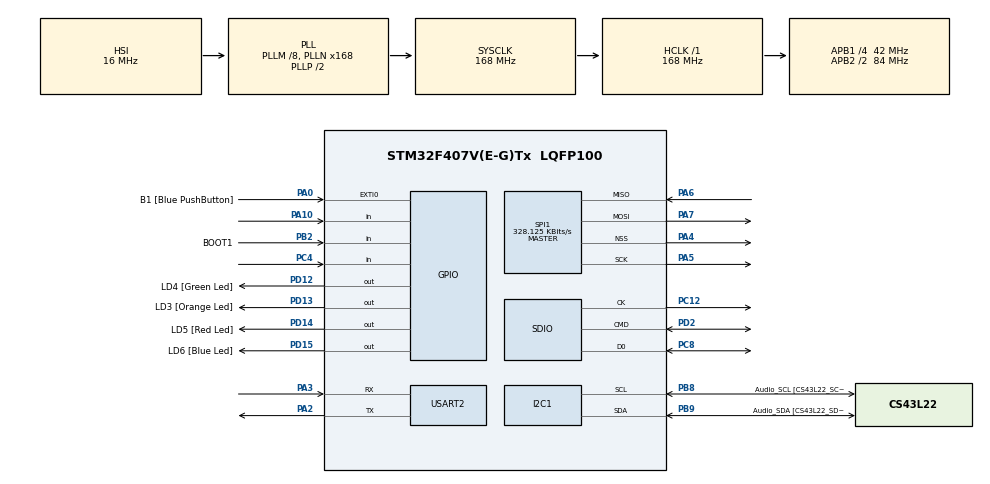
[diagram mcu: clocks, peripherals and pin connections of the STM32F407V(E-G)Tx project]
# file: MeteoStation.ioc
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Dma.Request0=SDIO_TX
Dma.Request1=SDIO_RX
Dma.SDIO_RX.1.Direction=DMA_PERIPH_TO_MEMORY
Dma.SDIO_RX.1.FIFOMode=DMA_FIFOMODE_ENABLE
Dma.SDIO_RX.1.FIFOThreshold=DMA_FIFO_THRESHOLD_FULL
Dma.SDIO_RX.1.Instance=DMA2_Stream6
Dma.SDIO_RX.1.MemBurst=DMA_MBURST_INC4
Dma.SDIO_RX.1.MemDataAlignment=DMA_MDATAALIGN_WORD
Dma.SDIO_RX.1.MemInc=DMA_MINC_ENABLE
Dma.SDIO_RX.1.Mode=DMA_PFCTRL
Dma.SDIO_RX.1.PeriphBurst=DMA_PBURST_INC4
Dma.SDIO_RX.1.PeriphDataAlignment=DMA_PDATAALIGN_WORD
Dma.SDIO_RX.1.PeriphInc=DMA_PINC_DISABLE
Dma.SDIO_RX.1.Priority=DMA_PRIORITY_LOW
Dma.SDIO_TX.0.Direction=DMA_MEMORY_TO_PERIPH
Dma.SDIO_TX.0.FIFOMode=DMA_FIFOMODE_ENABLE
Dma.SDIO_TX.0.FIFOThreshold=DMA_FIFO_THRESHOLD_FULL
Dma.SDIO_TX.0.Instance=DMA2_Stream3
Dma.SDIO_TX.0.MemBurst=DMA_MBURST_INC4
Dma.SDIO_TX.0.MemDataAlignment=DMA_MDATAALIGN_WORD
Dma.SDIO_TX.0.MemInc=DMA_MINC_ENABLE
Dma.SDIO_TX.0.Mode=DMA_PFCTRL
Dma.SDIO_TX.0.PeriphBurst=DMA_PBURST_INC4
Dma.SDIO_TX.0.PeriphDataAlignment=DMA_PDATAALIGN_WORD
Dma.SDIO_TX.0.PeriphInc=DMA_PINC_DISABLE
Dma.SDIO_TX.0.Priority=DMA_PRIORITY_LOW
FATFS.BSP.number=1
FATFS.USE_DMA_CODE_SD=1
FATFS._USE_CHMOD=1
FATFS._USE_EXPAND=1
FATFS._USE_FIND=1
FATFS._USE_FORWARD=1
FATFS._USE_LABEL=1
FATFS._USE_LFN=3
FATFS0.BSP.STBoard=false
FATFS0.BSP.api=Unknown
FATFS0.BSP.instance=PA10
FATFS0.BSP.ip=GPIO
FATFS0.BSP.mode=Input
FATFS0.BSP.name=Detect_SDIO
FATFS0.BSP.solution=PA10
Mcu.Family=STM32F4
Mcu.Name=STM32F407V(E-G)Tx
Mcu.Package=LQFP100
NVIC.DMA2_Stream3_IRQn=true\:7\:0\:true\:false\:true\:false\:true\:true
NVIC.DMA2_Stream6_IRQn=true\:7\:0\:true\:false\:true\:false\:true\:true
NVIC.PriorityGroup=NVIC_PRIORITYGROUP_4
NVIC.SDIO_IRQn=true\:6\:0\:true\:false\:true\:true\:true\:true
NVIC.TIM2_IRQn=true\:5\:0\:true\:false\:true\:true\:true\:true
NVIC.TIM6_DAC_IRQn=true\:6\:0\:true\:false\:true\:false\:true\:true
NVIC.TimeBase=TIM6_DAC_IRQn
NVIC.TimeBaseIP=TIM6
PA0-WKUP.GPIO_Label=B1 [Blue PushButton]
PA0-WKUP.GPIO_ModeDefaultEXTI=GPIO_MODE_EVT_RISING
PA0-WKUP.GPIO_PuPd=GPIO_NOPULL
PA0-WKUP.Signal=GPXTI0
PA10.GPIO_PuPd=GPIO_NOPULL
PA10.Signal=GPIO_Input
PA13.Mode=Serial_Wire
PA13.Signal=SYS_JTMS-SWDIO
PA14.Mode=Serial_Wire
PA14.Signal=SYS_JTCK-SWCLK
PA2.Mode=Asynchronous
PA2.Signal=USART2_TX
PA3.Mode=Asynchronous
PA3.Signal=USART2_RX
PA4.Mode=NSS_Signal_Hard_Output
PA4.Signal=SPI1_NSS
PA5.Mode=Full_Duplex_Master
PA5.Signal=SPI1_SCK
PA6.Mode=Full_Duplex_Master
PA6.Signal=SPI1_MISO
PA7.Mode=Full_Duplex_Master
PA7.Signal=SPI1_MOSI
PB2.GPIO_Label=BOOT1
PB2.GPIO_Mode=GPIO_MODE_INPUT
PB2.GPIO_PuPd=GPIO_NOPULL
PB2.Signal=GPIO_Input
PB8.GPIO_Label=Audio_SCL [CS43L22_SCL]
PB8.GPIO_Mode=GPIO_MODE_AF_OD
PB8.GPIO_Pu=GPIO_PULLUP
PB8.GPIO_Speed=GPIO_SPEED_FREQ_LOW
PB8.Mode=I2C
PB8.Signal=I2C1_SCL
PB9.GPIO_Label=Audio_SDA [CS43L22_SDA]
PB9.GPIO_Mode=GPIO_MODE_AF_OD
PB9.GPIO_Pu=GPIO_PULLUP
PB9.GPIO_PuPd=GPIO_NOPULL
PB9.GPIO_Speed=GPIO_SPEED_FREQ_LOW
PB9.Mode=I2C
PB9.Signal=I2C1_SDA
PC12.Mode=SD_1_bit
PC12.Signal=SDIO_CK
PC4.Signal=GPIO_Input
PC8.GPIO_PuPd=GPIO_NOPULL
PC8.Mode=SD_1_bit
PC8.Signal=SDIO_D0
PD12.GPIO_Label=LD4 [Green Led]
PD12.GPIO_PuPd=GPIO_NOPULL
PD12.GPIO_Speed=GPIO_SPEED_FREQ_LOW
PD12.Signal=GPIO_Output
PD13.GPIO_Label=LD3 [Orange Led]
PD13.GPIO_PuPd=GPIO_NOPULL
PD13.GPIO_Speed=GPIO_SPEED_FREQ_LOW
PD13.Signal=GPIO_Output
PD14.GPIO_Label=LD5 [Red Led]
PD14.GPIO_PuPd=GPIO_NOPULL
PD14.GPIO_Speed=GPIO_SPEED_FREQ_LOW
PD14.Signal=GPIO_Output
PD15.GPIO_Label=LD6 [Blue Led]
PD15.GPIO_PuPd=GPIO_NOPULL
PD15.GPIO_Speed=GPIO_SPEED_FREQ_LOW
PD15.Signal=GPIO_Output
PD2.GPIO_Mode=GPIO_MODE_AF_PP
PD2.GPIO_PuPd=GPIO_NOPULL
PD2.Mode=SD_1_bit
PD2.Signal=SDIO_CMD
ProjectManager.HeapSize=0x200
ProjectManager.StackSize=0x400
ProjectManager.TargetToolchain=STM32CubeIDE
RCC.48MHZClocksFreq_Value=48000000
RCC.AHBFreq_Value=168000000
RCC.APB1CLKDivider=RCC_HCLK_DIV4
RCC.APB1Freq_Value=42000000
RCC.APB1TimFreq_Value=84000000
RCC.APB2CLKDivider=RCC_HCLK_DIV2
RCC.APB2Freq_Value=84000000
RCC.APB2TimFreq_Value=168000000
RCC.CortexFreq_Value=168000000
RCC.HCLKFreq_Value=168000000
RCC.HSE_VALUE=8000000
RCC.HSI_VALUE=16000000
RCC.LSE_VALUE=32768
RCC.PLLM=8
RCC.PLLN=168
RCC.PLLQ=7
RCC.SYSCLKFreq_VALUE=168000000
RCC.SYSCLKSource=RCC_SYSCLKSOURCE_PLLCLK
RCC.VCOOutputFreq_Value=336000000
SPI1.BaudRatePrescaler=SPI_BAUDRATEPRESCALER_256
SPI1.CLKPhase=SPI_PHASE_2EDGE
SPI1.CalculateBaudRate=328.125 KBits/s
SPI1.Direction=SPI_DIRECTION_2LINES
SPI1.Mode=SPI_MODE_MASTER
SPI1.VirtualNSS=VM_NSSHARD
SPI1.VirtualType=VM_MASTER
TIM2.AutoReloadPreload=TIM_AUTORELOAD_PRELOAD_DISABLE
TIM2.Period=99999
TIM2.Prescaler=8399
USART2.VirtualMode=VM_ASYNC
VP_FATFS_VS_SDIO.Mode=SDIO
VP_SYS_VS_tim6.Mode=TIM6
VP_TIM2_VS_ClockSourceINT.Mode=Internal
board=STM32F407G-DISC1

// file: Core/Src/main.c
/* USER CODE BEGIN Header */
/**
  ******************************************************************************
  * @file           : main.c
  * @brief          : Main program body
  ******************************************************************************
  * @attention
  *
  * Copyright (c) 2025 STMicroelectronics.
  * All rights reserved.
  *
  * This software is licensed under terms that can be found in the LICENSE file
  * in the root directory of this software component.
  * If no LICENSE file comes with this software, it is provided AS-IS.
  *
  ******************************************************************************
  */
/* USER CODE END Header */
#include "main.h"
#include "fatfs.h"

/* USER CODE BEGIN Includes */

#include "sd_functions.h"

/* USER CODE END Includes */

/* USER CODE BEGIN PD */

#define DWT_CTRL	(*(volatile uint32_t*)0xE0001000)

/* USER CODE END PD */

I2C_HandleTypeDef hi2c1;

SD_HandleTypeDef hsd;
DMA_HandleTypeDef hdma_sdio_tx;
DMA_HandleTypeDef hdma_sdio_rx;

SPI_HandleTypeDef hspi1;

TIM_HandleTypeDef htim2;

UART_HandleTypeDef huart2;

void SystemClock_Config(void);
static void MX_GPIO_Init(void);
static void MX_DMA_Init(void);
static void MX_I2C1_Init(void);
static void MX_TIM2_Init(void);
static void MX_SDIO_SD_Init(void);
static void MX_USART2_UART_Init(void);
static void MX_SPI1_Init(void);
/* USER CODE BEGIN PFP */

int _write(int fd, unsigned char *buf, int len);
void rtc_task(void*);
void bme280_task(void*);
void lcd_task(void*);
void esp32(void*);
void sd_task(void*);
void RTC_SetTimeDate(void);
void vApplicationIdleHook(void);

/* USER CODE END PFP */

/* USER CODE BEGIN 0 */

// time and data structures
RTC_time_t curr_time;
RTC_date_t curr_date;

BME280_data_t measuring;

// data for queue and sd card
prev_date_t prev_date;

char curr_path[21];
uint8_t spi_rx_data[6];

// handlers
TaskHandle_t handle_rtc_task, handle_bme280_task, handle_lcd_task, handle_sd_task, handle_esp32_send;
QueueHandle_t q_bme280, q_lcd, q_sd, q_esp32;
SemaphoreHandle_t i2cMutex, spiMutex;

/* USER CODE END 0 */

int main(void)
{

  /* MCU Configuration--------------------------------------------------------*/

  /* Reset of all peripherals, Initializes the Flash interface and the Systick. */
  HAL_Init();

  /* Configure the system clock */
  SystemClock_Config();

  /* Initialize all configured peripherals */
  MX_GPIO_Init();
  MX_DMA_Init();
  MX_I2C1_Init();
  MX_TIM2_Init();
  MX_SDIO_SD_Init();
  MX_FATFS_Init();
  MX_USART2_UART_Init();
  MX_SPI1_Init();
  /* USER CODE BEGIN 2 */

  /* BME280 initialization */
  if(bme280_init() != HAL_OK)
  {
	  HAL_UART_Transmit(&huart2, "BME280_initialization is failed\n", 100, portMAX_DELAY);
  }
  else
  {
	  HAL_UART_Transmit(&huart2, "BME280_initialization is OK\n", 100, portMAX_DELAY);
  }

  // get first data
  if(bme280_get_data(&measuring) != HAL_OK)
  {
	  HAL_UART_Transmit(&huart2, "BME280_get_data is failed\n", 100, portMAX_DELAY);
  }
  else
  {
	  HAL_UART_Transmit(&huart2, "BME280_get_data is OK\n", 100, portMAX_DELAY);
  }
  /* DS1307 initialization */
  if(ds1307_init() != HAL_OK)
  {
	  HAL_UART_Transmit(&huart2, "DS1307_initialization is failed\n", 100, portMAX_DELAY);
  }
  else
  {
	  HAL_UART_Transmit(&huart2, "DS1307_initialization is OK\n", 100, portMAX_DELAY);
  }

  /* SET CURR DATA */
  {
	  while(HAL_GPIO_ReadPin(GPIOC, GPIO_PIN_4) != 1)
	  {
		  HAL_Delay(10);
	  }
	  HAL_SPI_Receive(&hspi1, spi_rx_data, sizeof(spi_rx_data), HAL_MAX_DELAY);

	  curr_date.day = SUNDAY;
	  curr_date.date = spi_rx_data[3];
	  curr_date.month = spi_rx_data[4];
	  curr_date.year = spi_rx_data[5];

	  curr_time.time_format = DS1307_TIME_FORMAT_24HOUR;
	  curr_time.hours = spi_rx_data[2];
	  curr_time.minutes = spi_rx_data[1];
	  curr_time.seconds = spi_rx_data[0];

	  prev_date.prev_month = spi_rx_data[4] - 1;
	  prev_date.prev_date = spi_rx_data[3] - 1;
  }

  if(ds1307_set_current_date(&curr_date) != HAL_OK)
  {
	  HAL_UART_Transmit(&huart2, "DS1307_set_date is failed\n", 100, portMAX_DELAY);
  }
  else
  {
	  HAL_UART_Transmit(&huart2, "DS1307_set_date is OK\n", 100, portMAX_DELAY);
  }

  if(ds1307_set_current_time(&curr_time) != HAL_OK)
  {
	  HAL_UART_Transmit(&huart2, "DS1307_set_time is failed\n", 100, portMAX_DELAY);
  }
  else
  {
	  HAL_UART_Transmit(&huart2, "DS1307_set_time is OK\n", 100, portMAX_DELAY);
  }

  // /LOGS creation
  {
	  sd_mount();
	  sd_create_directory("/LOGS");
	  sd_unmount();
  }

#if SEGGER_UART_REC
  // Enable the CYCCNT counter.
  DWT_CTRL |= (1 << 0);

  // Enable SEGGER UART_VIEW
  SEGGER_UART_init(500000);

  SEGGER_SYSVIEW_Start();
#endif

  // Value to check the status
  BaseType_t status;

  // Create tasks
  status = xTaskCreate(rtc_task, "rtc_task", 256, NULL, 5, &handle_rtc_task);
  configASSERT(status == pdPASS);

  status = xTaskCreate(bme280_task, "bme280_task", 512, NULL, 5, &handle_bme280_task);
  configASSERT(status == pdPASS);

  status = xTaskCreate(lcd_task, "lcd_task", 512, NULL, 5, &handle_lcd_task);
  configASSERT(status == pdPASS);

  status = xTaskCreate(esp32, "esp32_task", 512, NULL, 5, &handle_esp32_send);
  configASSERT(status == pdPASS);

  status = xTaskCreate(sd_task, "sd_task", 512, NULL, 5, &handle_sd_task);
  configASSERT(status == pdPASS);

  // Create 3 queue for rtc, bme280 and ( lcd & sd )
  q_bme280 = xQueueCreate(1, sizeof(meteo_msg_t));
  configASSERT(q_bme280 != NULL);

  q_lcd = xQueueCreate(1, sizeof(meteo_msg_t));
  configASSERT(q_lcd != NULL);

  q_esp32 = xQueueCreate(1, sizeof(meteo_msg_t));
  configASSERT(q_esp32 != NULL);

  q_sd = xQueueCreate(1, sizeof(meteo_msg_t));
  configASSERT(q_sd != NULL);

  i2cMutex = xSemaphoreCreateMutex();
  configASSERT(i2cMutex != NULL);

  spiMutex = xSemaphoreCreateMutex();
  configASSERT(spiMutex != NULL);

  xSemaphoreGive(i2cMutex);
  xSemaphoreGive(spiMutex);

  /* Timer 2 initialization */
  __HAL_TIM_SET_COUNTER(&htim2, 0);
  HAL_TIM_Base_Start_IT(&htim2);

  // Start the freeRTOS scheduler
  vTaskStartScheduler();

  /* USER CODE END 2 */

  /* Infinite loop */
  while(1)
  {

    /* USER CODE BEGIN 3 */
  }

  return 0;
  /* USER CODE END 3 */
}

void SystemClock_Config(void)
{
  RCC_OscInitTypeDef RCC_OscInitStruct = {0};
  RCC_ClkInitTypeDef RCC_ClkInitStruct = {0};

  /** Configure the main internal regulator output voltage
  */
  __HAL_RCC_PWR_CLK_ENABLE();
  __HAL_PWR_VOLTAGESCALING_CONFIG(PWR_REGULATOR_VOLTAGE_SCALE1);

  /** Initializes the RCC Oscillators according to the specified parameters
  * in the RCC_OscInitTypeDef structure.
  */
  RCC_OscInitStruct.OscillatorType = RCC_OSCILLATORTYPE_HSI;
  RCC_OscInitStruct.HSIState = RCC_HSI_ON;
  RCC_OscInitStruct.HSICalibrationValue = RCC_HSICALIBRATION_DEFAULT;
  RCC_OscInitStruct.PLL.PLLState = RCC_PLL_ON;
  RCC_OscInitStruct.PLL.PLLSource = RCC_PLLSOURCE_HSI;
  RCC_OscInitStruct.PLL.PLLM = 8;
  RCC_OscInitStruct.PLL.PLLN = 168;
  RCC_OscInitStruct.PLL.PLLP = RCC_PLLP_DIV2;
  RCC_OscInitStruct.PLL.PLLQ = 7;
  if (HAL_RCC_OscConfig(&RCC_OscInitStruct) != HAL_OK)
  {
    Error_Handler();
  }

  /** Initializes the CPU, AHB and APB buses clocks
  */
  RCC_ClkInitStruct.ClockType = RCC_CLOCKTYPE_HCLK|RCC_CLOCKTYPE_SYSCLK
                              |RCC_CLOCKTYPE_PCLK1|RCC_CLOCKTYPE_PCLK2;
  RCC_ClkInitStruct.SYSCLKSource = RCC_SYSCLKSOURCE_PLLCLK;
  RCC_ClkInitStruct.AHBCLKDivider = RCC_SYSCLK_DIV1;
  RCC_ClkInitStruct.APB1CLKDivider = RCC_HCLK_DIV4;
  RCC_ClkInitStruct.APB2CLKDivider = RCC_HCLK_DIV2;

  if (HAL_RCC_ClockConfig(&RCC_ClkInitStruct, FLASH_LATENCY_5) != HAL_OK)
  {
    Error_Handler();
  }
}

static void MX_I2C1_Init(void)
{

  hi2c1.Instance = I2C1;
  hi2c1.Init.ClockSpeed = 100000;
  hi2c1.Init.DutyCycle = I2C_DUTYCYCLE_2;
  hi2c1.Init.OwnAddress1 = 0;
  hi2c1.Init.AddressingMode = I2C_ADDRESSINGMODE_7BIT;
  hi2c1.Init.DualAddressMode = I2C_DUALADDRESS_DISABLE;
  hi2c1.Init.OwnAddress2 = 0;
  hi2c1.Init.GeneralCallMode = I2C_GENERALCALL_DISABLE;
  hi2c1.Init.NoStretchMode = I2C_NOSTRETCH_DISABLE;
  if (HAL_I2C_Init(&hi2c1) != HAL_OK)
  {
    Error_Handler();
  }

}

static void MX_SDIO_SD_Init(void)
{

  hsd.Instance = SDIO;
  hsd.Init.ClockEdge = SDIO_CLOCK_EDGE_RISING;
  hsd.Init.ClockBypass = SDIO_CLOCK_BYPASS_DISABLE;
  hsd.Init.ClockPowerSave = SDIO_CLOCK_POWER_SAVE_DISABLE;
  hsd.Init.BusWide = SDIO_BUS_WIDE_1B;
  hsd.Init.HardwareFlowControl = SDIO_HARDWARE_FLOW_CONTROL_DISABLE;
  hsd.Init.ClockDiv = 0;
  /* USER CODE BEGIN SDIO_Init 2 */

  //1) Initialize SD peripheral (this performs card init in 1-bit) */

  if (HAL_SD_Init(&hsd) != HAL_OK)
  {
	  printf("HAL_SD_Init failed!\r\n");
      Error_Handler();
  }

  //printf("HAL_SD_Init OK\n");

  // switch to 4-bit AFTER init
  /*if (HAL_SD_ConfigWideBusOperation(&hsd, SDIO_BUS_WIDE_4B) == HAL_OK)
  {
	  printf("4-bit mode enabled \r\n");
  }
  else
  {
	  printf("Failed to switch to 4-bit mode\r\n");
  }*/

  /* USER CODE END SDIO_Init 2 */

}

static void MX_SPI1_Init(void)
{

  /* SPI1 parameter configuration*/
  hspi1.Instance = SPI1;
  hspi1.Init.Mode = SPI_MODE_MASTER;
  hspi1.Init.Direction = SPI_DIRECTION_2LINES;
  hspi1.Init.DataSize = SPI_DATASIZE_8BIT;
  hspi1.Init.CLKPolarity = SPI_POLARITY_LOW;
  hspi1.Init.CLKPhase = SPI_PHASE_2EDGE;
  hspi1.Init.NSS = SPI_NSS_HARD_OUTPUT;
  hspi1.Init.BaudRatePrescaler = SPI_BAUDRATEPRESCALER_256;
  hspi1.Init.FirstBit = SPI_FIRSTBIT_MSB;
  hspi1.Init.TIMode = SPI_TIMODE_DISABLE;
  hspi1.Init.CRCCalculation = SPI_CRCCALCULATION_DISABLE;
  hspi1.Init.CRCPolynomial = 10;
  if (HAL_SPI_Init(&hspi1) != HAL_OK)
  {
    Error_Handler();
  }

}

static void MX_TIM2_Init(void)
{

  TIM_ClockConfigTypeDef sClockSourceConfig = {0};
  TIM_MasterConfigTypeDef sMasterConfig = {0};

  htim2.Instance = TIM2;
  htim2.Init.Prescaler = 8399;
  htim2.Init.CounterMode = TIM_COUNTERMODE_UP;
  htim2.Init.Period = 99999;
  htim2.Init.ClockDivision = TIM_CLOCKDIVISION_DIV1;
  htim2.Init.AutoReloadPreload = TIM_AUTORELOAD_PRELOAD_DISABLE;
  if (HAL_TIM_Base_Init(&htim2) != HAL_OK)
  {
    Error_Handler();
  }
  sClockSourceConfig.ClockSource = TIM_CLOCKSOURCE_INTERNAL;
  if (HAL_TIM_ConfigClockSource(&htim2, &sClockSourceConfig) != HAL_OK)
  {
    Error_Handler();
  }
  sMasterConfig.MasterOutputTrigger = TIM_TRGO_RESET;
  sMasterConfig.MasterSlaveMode = TIM_MASTERSLAVEMODE_DISABLE;
  if (HAL_TIMEx_MasterConfigSynchronization(&htim2, &sMasterConfig) != HAL_OK)
  {
    Error_Handler();
  }

}

static void MX_USART2_UART_Init(void)
{

  huart2.Instance = USART2;
  huart2.Init.BaudRate = 115200;
  huart2.Init.WordLength = UART_WORDLENGTH_8B;
  huart2.Init.StopBits = UART_STOPBITS_1;
  huart2.Init.Parity = UART_PARITY_NONE;
  huart2.Init.Mode = UART_MODE_TX_RX;
  huart2.Init.HwFlowCtl = UART_HWCONTROL_NONE;
  huart2.Init.OverSampling = UART_OVERSAMPLING_16;
  if (HAL_UART_Init(&huart2) != HAL_OK)
  {
    Error_Handler();
  }

}

static void MX_DMA_Init(void)
{

  /* DMA controller clock enable */
  __HAL_RCC_DMA2_CLK_ENABLE();

  /* DMA interrupt init */
  /* DMA2_Stream3_IRQn interrupt configuration */
  HAL_NVIC_SetPriority(DMA2_Stream3_IRQn, 7, 0);
  HAL_NVIC_EnableIRQ(DMA2_Stream3_IRQn);
  /* DMA2_Stream6_IRQn interrupt configuration */
  HAL_NVIC_SetPriority(DMA2_Stream6_IRQn, 7, 0);
  HAL_NVIC_EnableIRQ(DMA2_Stream6_IRQn);

}

static void MX_GPIO_Init(void)
{
  GPIO_InitTypeDef GPIO_InitStruct = {0};

  /* GPIO Ports Clock Enable */
  __HAL_RCC_GPIOA_CLK_ENABLE();
  __HAL_RCC_GPIOC_CLK_ENABLE();
  __HAL_RCC_GPIOB_CLK_ENABLE();
  __HAL_RCC_GPIOD_CLK_ENABLE();

  /*Configure GPIO pin Output Level */
  HAL_GPIO_WritePin(GPIOD, LD4_Pin|LD3_Pin|LD5_Pin|LD6_Pin, GPIO_PIN_RESET);

  /*Configure GPIO pin : B1_Pin */
  GPIO_InitStruct.Pin = B1_Pin;
  GPIO_InitStruct.Mode = GPIO_MODE_EVT_RISING;
  GPIO_InitStruct.Pull = GPIO_NOPULL;
  HAL_GPIO_Init(B1_GPIO_Port, &GPIO_InitStruct);

  /*Configure GPIO pin : PC4 */
  GPIO_InitStruct.Pin = GPIO_PIN_4;
  GPIO_InitStruct.Mode = GPIO_MODE_INPUT;
  GPIO_InitStruct.Pull = GPIO_NOPULL;
  HAL_GPIO_Init(GPIOC, &GPIO_InitStruct);

  /*Configure GPIO pin : BOOT1_Pin */
  GPIO_InitStruct.Pin = BOOT1_Pin;
  GPIO_InitStruct.Mode = GPIO_MODE_INPUT;
  GPIO_InitStruct.Pull = GPIO_NOPULL;
  HAL_GPIO_Init(BOOT1_GPIO_Port, &GPIO_InitStruct);

  /*Configure GPIO pins : LD4_Pin LD3_Pin LD5_Pin LD6_Pin */
  GPIO_InitStruct.Pin = LD4_Pin|LD3_Pin|LD5_Pin|LD6_Pin;
  GPIO_InitStruct.Mode = GPIO_MODE_OUTPUT_PP;
  GPIO_InitStruct.Pull = GPIO_NOPULL;
  GPIO_InitStruct.Speed = GPIO_SPEED_FREQ_LOW;
  HAL_GPIO_Init(GPIOD, &GPIO_InitStruct);

  /*Configure GPIO pin : PA10 */
  GPIO_InitStruct.Pin = GPIO_PIN_10;
  GPIO_InitStruct.Mode = GPIO_MODE_INPUT;
  GPIO_InitStruct.Pull = GPIO_NOPULL;
  HAL_GPIO_Init(GPIOA, &GPIO_InitStruct);

/* USER CODE BEGIN MX_GPIO_Init_2 */
  	 /*Configure GPIO pin : PD14 */
  GPIO_InitStruct.Pin = GPIO_PIN_13;
  GPIO_InitStruct.Mode = GPIO_MODE_OUTPUT_PP;
  GPIO_InitStruct.Pull = GPIO_NOPULL;
  GPIO_InitStruct.Speed = GPIO_SPEED_FREQ_MEDIUM;
  HAL_GPIO_Init(GPIOD, &GPIO_InitStruct);

  // 1. Configure GPIO pins which used for lcd connections

  GPIO_InitStruct.Speed = GPIO_SPEED_FREQ_HIGH;
  GPIO_InitStruct.Mode = GPIO_MODE_OUTPUT_PP;
  GPIO_InitStruct.Pull = GPIO_NOPULL;

  GPIO_InitStruct.Pin = LCD_GPIO_RS;
  HAL_GPIO_Init(LCD_GPIO_PORT, &GPIO_InitStruct);

  GPIO_InitStruct.Pin = LCD_GPIO_RW;
  HAL_GPIO_Init(LCD_GPIO_PORT, &GPIO_InitStruct);

  GPIO_InitStruct.Pin = LCD_GPIO_EN;
  HAL_GPIO_Init(LCD_GPIO_PORT, &GPIO_InitStruct);

  GPIO_InitStruct.Pin = LCD_GPIO_D4;
  HAL_GPIO_Init(LCD_GPIO_PORT, &GPIO_InitStruct);

  GPIO_InitStruct.Pin = LCD_GPIO_D5;
  HAL_GPIO_Init(LCD_GPIO_PORT, &GPIO_InitStruct);

  GPIO_InitStruct.Pin = LCD_GPIO_D6;
  HAL_GPIO_Init(LCD_GPIO_PORT, &GPIO_InitStruct);

  GPIO_InitStruct.Pin = LCD_GPIO_D7;
  HAL_GPIO_Init(LCD_GPIO_PORT, &GPIO_InitStruct);

  HAL_GPIO_WritePin(LCD_GPIO_PORT, LCD_GPIO_RS, GPIO_PIN_RESET);

  HAL_GPIO_WritePin(LCD_GPIO_PORT, LCD_GPIO_RW, GPIO_PIN_RESET);
  HAL_GPIO_WritePin(LCD_GPIO_PORT, LCD_GPIO_EN, GPIO_PIN_RESET);

  HAL_GPIO_WritePin(LCD_GPIO_PORT, LCD_GPIO_D4, GPIO_PIN_RESET);
  HAL_GPIO_WritePin(LCD_GPIO_PORT, LCD_GPIO_D5, GPIO_PIN_RESET);
  HAL_GPIO_WritePin(LCD_GPIO_PORT, LCD_GPIO_D6, GPIO_PIN_RESET);
  HAL_GPIO_WritePin(LCD_GPIO_PORT, LCD_GPIO_D7, GPIO_PIN_RESET);

  lcd_init();

  /* SDIO 1-bit pins D0-D3  initialization */
  GPIO_InitStruct.Pin = GPIO_PIN_8;
	GPIO_InitStruct.Mode = GPIO_MODE_AF_PP;
	GPIO_InitStruct.Pull = GPIO_NOPULL;
	GPIO_InitStruct.Speed = GPIO_SPEED_FREQ_VERY_HIGH;
	GPIO_InitStruct.Alternate = GPIO_AF12_SDIO;
	HAL_GPIO_Init(GPIOC, &GPIO_InitStruct);

  /* SDIO 4-bit pins D0-D3  initialization */
  /*GPIO_InitStruct.Pin = GPIO_PIN_8 | GPIO_PIN_9 | GPIO_PIN_10 | GPIO_PIN_11;
  GPIO_InitStruct.Mode = GPIO_MODE_AF_PP;
  GPIO_InitStruct.Pull = GPIO_NOPULL;
  GPIO_InitStruct.Speed = GPIO_SPEED_FREQ_VERY_HIGH;
  GPIO_InitStruct.Alternate = GPIO_AF12_SDIO;
  HAL_GPIO_Init(GPIOC, &GPIO_InitStruct);*/

/* USER CODE END MX_GPIO_Init_2 */
}

/* USER CODE BEGIN 4 */

/*void RTC_SetTimeDate(void)
{
    RTC_TimeTypeDef sTime = {0};
    RTC_DateTypeDef sDate = {0};

    sTime.Hours = 20;
    sTime.Minutes = 59;
    sTime.Seconds = 20;
    sTime.DayLightSaving = RTC_DAYLIGHTSAVING_NONE;
    sTime.StoreOperation = RTC_STOREOPERATION_RESET;

    HAL_RTC_SetTime(&hrtc, &sTime, RTC_FORMAT_BIN);

    sDate.WeekDay = RTC_WEEKDAY_SATURDAY;
    sDate.Month  = RTC_MONTH_JANUARY;
    sDate.Date   = 9;
    sDate.Year   = 26;  // 2026

    HAL_RTC_SetDate(&hrtc, &sDate, RTC_FORMAT_BIN);
}*/

int _write(int fd, unsigned char *buf, int len) {
  if (fd == 1 || fd == 2) {
    HAL_UART_Transmit(&huart2, buf, len, HAL_MAX_DELAY);  // Print to the UART
  }
  return len;
}

void vApplicationIdleHook(void)
{
	HAL_PWR_EnterSLEEPMode(PWR_MAINREGULATOR_ON, PWR_SLEEPENTRY_WFI);
}

/*void HAL_RTCEx_WakeUpTimerEventCallback(RTC_HandleTypeDef *hrtc)
{
    static uint8_t sec10 = 0;

    sec10++;
    if (sec10 >= 10)
    {
        sec10 = 0;
        xTaskNotifyFromISR(handle_rtc_task, 0, eNoAction, NULL);
    }
}*/

/* USER CODE END 4 */

void HAL_TIM_PeriodElapsedCallback(TIM_HandleTypeDef *htim)
{
  if (htim->Instance == TIM6) {
    HAL_IncTick();
  }
  /* USER CODE BEGIN Callback 1 */

  if(htim->Instance == TIM2)
  {
	  HAL_GPIO_TogglePin(GPIOD, GPIO_PIN_15);
	  BaseType_t xHigherPriorityTaskWoken = pdFALSE;
	  xTaskNotifyFromISR(handle_rtc_task, 0, eNoAction, &xHigherPriorityTaskWoken);
	  portYIELD_FROM_ISR(xHigherPriorityTaskWoken);
  }

  /* USER CODE END Callback 1 */
}

void Error_Handler(void)
{
  __disable_irq();
  while (1)
  {
  }
}
